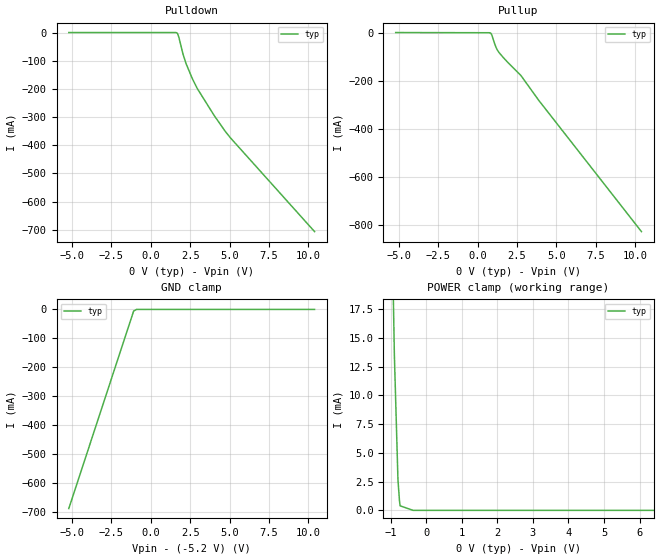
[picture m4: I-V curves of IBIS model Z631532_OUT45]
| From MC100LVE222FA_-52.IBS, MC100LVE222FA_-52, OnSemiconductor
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| (C) COPYRIGHT 1993-2000
| MENTOR GRAPHICS CORPORATION
| ICX STANDARD LIBRARY, ICX PROJECT MODELING,
| ICX CUSTOM MODELING, ICX VENDOR MODEL
| ALL RIGHTS RESERVED.
| THE FOLLOWING ARE TRADEMARKS OR SERVICE MARKS OF
| MENTOR GRAPHICS CORPORATION:ICX (R), ICX STANDARD
| LIBRARY(R), ICX PROJECT MODELING(R), ICX CUSTOM
| MODELING(R), qualityIBIS(TM), MODELVIEWER(TM),
| AND MODELEDITOR(TM)
| ALL COPIES OF SOFTWARE, INCLUDING BUT NOT LIMITED TO
| ANY MODIFICATIONS, ENHANCEMENTS OR DERIVATIVE WORKS,
| MUST CONTAIN ALL MENTOR GRAPHICS CORPORATION'S
| NOTICES AND LEGENDS, INCLUDING THOSE EMBEDDED IN
| SOFTWARE AND THOSE AFFIXED TO SOFTWARE MEDIUM
| AND CONTAINER, AS RECEIVED FROM MENTOR GRAPHICS
| CORPORATION.
| Model Application Version 1.89 2/18/99.
[Model] Z631532_OUT45
Model_type Output_ECL
Vref=-2.000V
Rref=50.00ohms
Cref=0.000F
Vmeas=-1.320V
C_comp 8.000pF NA NA
| variable typ   min   max
[Voltage Range] -5.200V NA NA
[POWER Clamp Reference] 0.000V NA NA
[Pullup Reference] 0.000V NA NA
[Pulldown Reference] 0.000V NA NA
[GND Clamp Reference] -5.200V NA NA
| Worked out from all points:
|   GND clamp passes 1 mA (typ) near -0.94 V on its own axis
|   POWER clamp passes 1 mA (typ) near -0.75 V on its own axis
[GND Clamp]
-5.2V     -688.3mA   NA         NA
-1.084V   -5.478mA   NA         NA
-903.3mV  0A         NA         NA
10.4V     0A         NA         NA
[Pulldown]
-5.2V     0A         NA         NA
1.662V    -1.2mA     NA         NA
1.703V    -3.8mA     NA         NA
1.784V    -16.7mA    NA         NA
2.047V    -76.3mA    NA         NA
2.25V     -111.6mA   NA         NA
2.655V    -165.4mA   NA         NA
2.959V    -199.2mA   NA         NA
4.013V    -293.4mA   NA         NA
4.723V    -350.3mA   NA         NA
5.047V    -373.1mA   NA         NA
10.4V     -706.8mA   NA         NA
[Pullup]
-5.2V     745.4uA    NA         NA
831mV     -1.9mA     NA         NA
912mV     -11.3mA    NA         NA
1.176V    -62.1mA    NA         NA
1.358V    -82.3mA    NA         NA
1.926V    -124.2mA   NA         NA
2.757V    -178.8mA   NA         NA
3.871V    -280.7mA   NA         NA
10.4V     -828mA     NA         NA
[POWER Clamp]
-5.2V     2.955A     NA         NA
-1.176V   78.63mA    NA         NA
-1.034V   38.25mA    NA         NA
-892mV    13.57mA    NA         NA
-791mV    2.685mA    NA         NA
-750mV    891.3uA    NA         NA
-730mV    394.1uA    NA         NA
-365mV    0A         NA         NA
10.4V     0A         NA         NA
[Ramp]
| variable typ min max
dV/dt_r 453.8m/255.6p NA NA
dV/dt_f 453.8m/234.7p NA NA
R_load = 50.00Ohms
